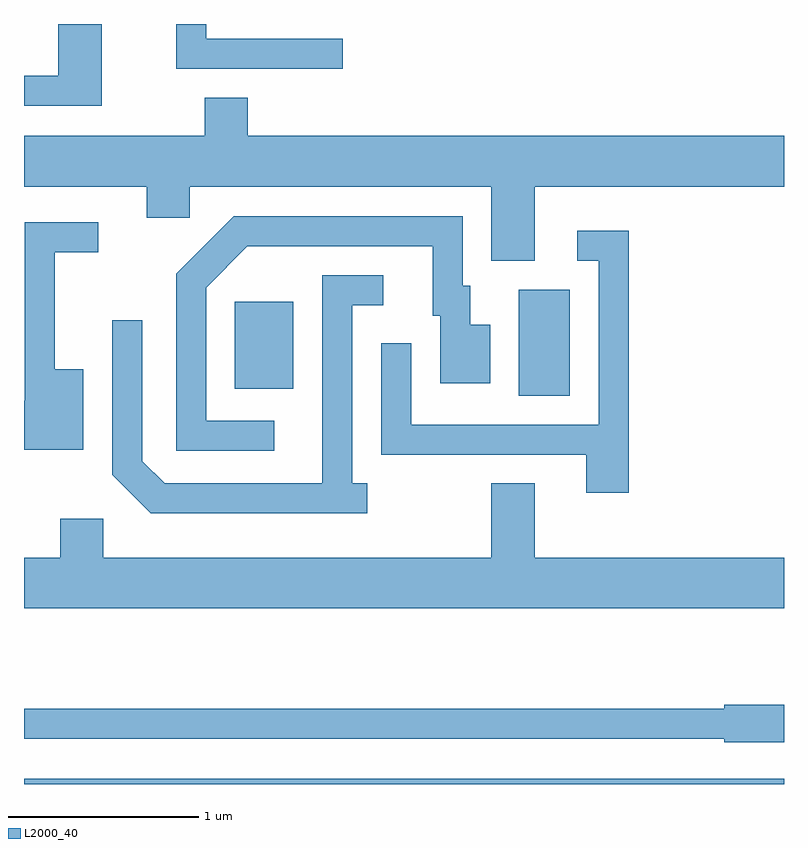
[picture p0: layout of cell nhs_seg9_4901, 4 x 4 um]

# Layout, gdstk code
import gdstk
lib = gdstk.Library(unit=1e-6, precision=1e-09)
def R(c, l, rs):  # rectangles x0, y0, x1, y1
    for r in rs: c.add(gdstk.rectangle(r[:2], r[2:], *l))
def P(c, l, *ps):  # polygons
    for p in ps: c.add(gdstk.Polygon(p, *l))
L2000_40 = (2000, 40)

nhs_seg9_4901 = lib.new_cell('nhs_seg9_4901')
R(nhs_seg9_4901, L2000_40, [(329.611,2006.432,333.611,2006.459), (332.216,2008.476,332.484,2009.034), (330.721,2008.511,331.029,2008.969)])
P(nhs_seg9_4901, L2000_40, [(331.288,2010.354),(330.569,2010.354),(330.569,2010.432),(330.411,2010.432),(330.411,2010.196),(331.288,2010.196)],
  [(330.019,2010.432),(329.791,2010.432),(329.791,2010.159),(329.611,2010.159),(329.611,2010.001),(330.019,2010.001)],
  [(330.789,2010.044),(330.561,2010.044),(330.561,2009.844),(329.611,2009.844),(329.611,2009.576),(330.256,2009.576),(330.256,2009.411),(330.484,2009.411),(330.484,2009.576),(332.071,2009.576),(332.071,2009.186),(332.299,2009.186),(332.299,2009.576),(333.611,2009.576),(333.611,2009.844),(330.789,2009.844)],
  [(330.928,2008.344),(330.569,2008.344),(330.569,2009.044),(330.787,2009.261),(331.761,2009.261),(331.761,2008.896),(331.801,2008.896),(331.801,2008.541),(332.064,2008.541),(332.064,2008.849),(331.959,2008.849),(331.959,2009.054),(331.919,2009.054),(331.919,2009.419),(330.714,2009.419),(330.411,2009.117),(330.411,2008.186),(330.928,2008.186)],
  [(329.924,2008.614),(329.774,2008.614),(329.774,2009.231),(330.003,2009.231),(330.003,2009.389),(329.616,2009.389),(329.616,2008.449),(329.611,2008.449),(329.611,2008.191),(329.924,2008.191)],
  [(332.794,2009.344),(332.523,2009.344),(332.523,2009.186),(332.636,2009.186),(332.636,2008.324),(331.649,2008.324),(331.649,2008.753),(331.491,2008.753),(331.491,2008.166),(332.571,2008.166),(332.571,2007.966),(332.794,2007.966)],
  [(331.418,2008.014),(331.339,2008.014),(331.339,2008.951),(331.503,2008.951),(331.503,2009.109),(331.181,2009.109),(331.181,2008.014),(330.352,2008.014),(330.234,2008.132),(330.234,2008.873),(330.076,2008.873),(330.076,2008.059),(330.279,2007.856),(331.418,2007.856)],
  [(333.611,2007.624),(332.299,2007.624),(332.299,2008.014),(332.071,2008.014),(332.071,2007.624),(330.029,2007.624),(330.029,2007.829),(329.801,2007.829),(329.801,2007.624),(329.611,2007.624),(329.611,2007.356),(333.611,2007.356)],
  [(333.611,2006.849),(333.296,2006.849),(333.296,2006.829),(329.611,2006.829),(329.611,2006.671),(333.296,2006.671),(333.296,2006.651),(333.611,2006.651)])

lib.write_gds('nhs_seg9_4901.gds')
